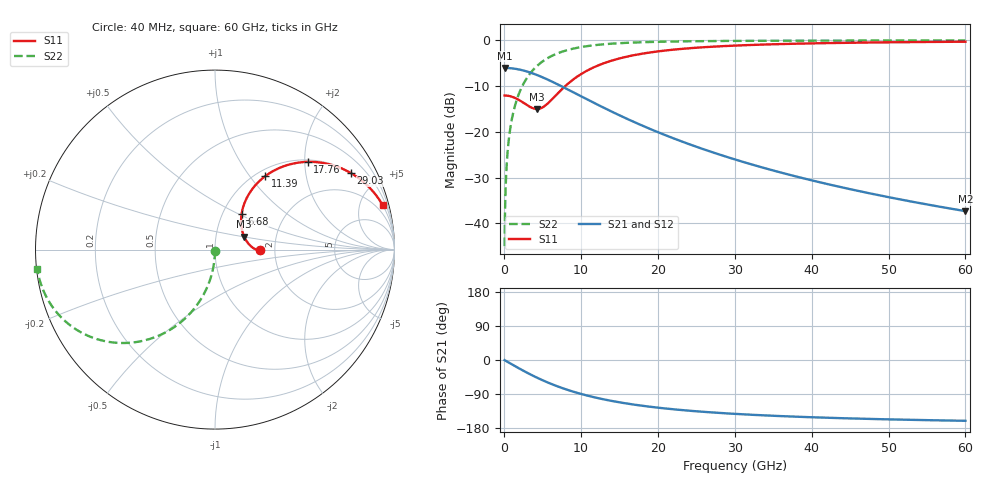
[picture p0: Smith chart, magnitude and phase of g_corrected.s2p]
! Created Thu Oct  3 12:50:39 2024
# hz S ma R 50
! 2 Port Network Data from SP1.SP block
! freq  magS11  angS11  magS21  angS21  magS12  angS12  magS22  angS22
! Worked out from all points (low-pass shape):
!   5997 points, 40 MHz to 60 GHz, reference 50 ohm
!   highest |S21| = -6.02 dB at 40 MHz (marker M1); lowest = -37.3 dB at 60 GHz (marker M2)
!   |S21| within 3 dB of the highest: start of sweep to 6.22 GHz
!   lowest |S11| = -15.0 dB at 4.25 GHz (marker M3), VSWR 1.43, Z = 68.6 + j10.1 ohm
!   |S11| at or under -10 dB: start of sweep to 7.926 GHz
!   |S22| runs from -45.0 to 0.0 dB; largest |S21 - S12| = 0
!   S11 on the Smith chart (normalised r, x): 40 MHz: 1.67, -0.00; 6.68 GHz: 1.23, +0.52; 11.39 GHz: 1.10, +1.19; 17.76 GHz: 1.04, +2.06; 29.03 GHz: 1.02, +3.54; 60 GHz: 1.00, +7.49
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4e7  0.25 -0.0  0.5 -0.5  0.5 -0.5  0.005655 -90.3
1.8e8  0.2497 -0.2  0.4998 -2.1  0.4998 -2.1  0.02544 -91.4
3.6e8  0.2489 -0.3  0.4993 -4.2  0.4993 -4.2  0.05084 -92.8
4.8e8  0.2481 -0.4  0.4987 -5.6  0.4987 -5.6  0.06773 -93.7
7.4e8  0.2456 -0.5  0.497 -8.6  0.497 -8.6  0.1041 -95.7
1.11e9  0.2403 -0.5  0.4933 -12.9  0.4933 -12.9  0.1553 -98.5
1.65e9  0.2294 0.1  0.4855 -19.1  0.4855 -19.1  0.228 -102.5
2.35e9  0.2119 2.6  0.4716 -26.9  0.4716 -26.9  0.3175 -107.6
3.21e9  0.1905 9.4  0.4496 -36.1  0.4496 -36.1  0.4182 -113.5
4.25e9  0.178 23.7  0.4184 -46.6  0.4184 -46.6  0.5244 -120.0
5.24e9  0.1914 39.1  0.3862 -55.7  0.3862 -55.7  0.6092 -125.6
6.68e9  0.2495 53.5  0.3391 -67.7  0.3391 -67.7  0.7067 -132.7
1.004e10  0.4304 57.7  0.2439 -89.9  0.2439 -89.9  0.8454 -144.8
1.139e10  0.4959 55.6  0.2134 -96.9  0.2134 -96.9  0.8781 -148.4
1.43e10  0.6119 49.9  0.1617 -109.2  0.1617 -109.2  0.9237 -154.3
1.776e10  0.7107 43.5  0.1191 -120.2  0.1191 -120.2  0.9528 -159.1
2.003e10  0.7582 39.8  0.09904 -125.9  0.09904 -125.9  0.9642 -161.5
2.903e10  0.8689 29.4  0.05309 -141.0  0.05309 -141.0  0.9849 -167.3
3.002e10  0.8764 28.5  0.05002 -142.2  0.05002 -142.2  0.986 -167.7
4.002e10  0.9266 22.0  0.02956 -151.1  0.02956 -151.1  0.9927 -170.8
5.001e10  0.9517 17.8  0.01939 -156.7  0.01939 -156.7  0.9955 -172.7
6e10  0.966 15.0  0.01365 -160.5  0.01365 -160.5  0.997 -173.9
